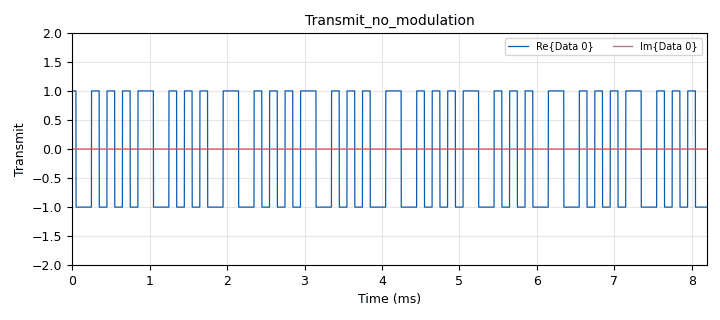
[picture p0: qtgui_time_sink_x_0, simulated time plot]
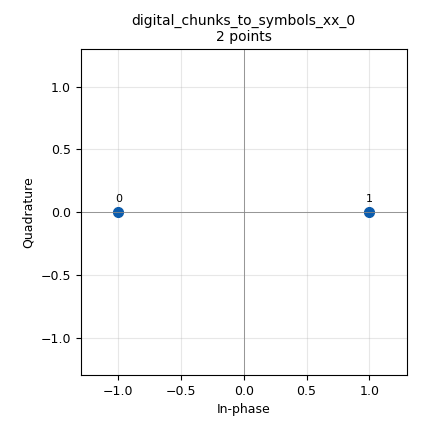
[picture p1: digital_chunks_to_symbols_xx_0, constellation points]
options:
  parameters:
    author: duong
    generate_options: qt_gui
    id: PSK
    output_language: python
    title: Not titled yet
  states: {}

blocks:
- name: cen_freq
  id: variable
  parameters:
    value: '915000000'
  states: {}
- name: rx_gain
  id: variable_qtgui_range
  parameters:
    label: rx_gain
    rangeType: int
    start: '0'
    step: '1'
    stop: '100'
    value: '64'
  states: {}
- name: samp_rate
  id: variable
  parameters:
    value: '1000000'
  states: {}
- name: sample_per_symbol
  id: variable
  parameters:
    value: '100'
  states: {}
- name: tx_attenuation
  id: variable_qtgui_range
  parameters:
    start: '0'
    step: '1'
    stop: '100'
    value: '10'
  states: {}
- name: blocks_repeat_0
  id: blocks_repeat
  parameters:
    interp: sample_per_symbol
    type: complex
  states: {}
- name: blocks_vector_source_x_0
  id: blocks_vector_source_x
  parameters:
    repeat: 'True'
    type: byte
    vector: (0,1,0,1,0,1,0,1,1,0,0,1,0,1,0,1,0,0,1,1,0)
  states: {}
- name: digital_chunks_to_symbols_xx_0
  id: digital_chunks_to_symbols_xx
  parameters:
    dimension: '1'
    in_type: byte
    out_type: complex
    symbol_table: (-1,1)
  states: {}
- name: iio_pluto_sink_0
  id: iio_pluto_sink
  parameters:
    attenuation1: tx_attenuation
    bandwidth: '20000000'
    buffer_size: '32768'
    cyclic: 'False'
    filter_source: '''Auto'''
    frequency: cen_freq
    samplerate: samp_rate
    type: fc32
    uri: usb:1.2.5
  states: {}
- name: iio_pluto_source_0
  id: iio_pluto_source
  parameters:
    bandwidth: '20000000'
    bbdc: 'True'
    buffer_size: '32768'
    filter_source: '''Auto'''
    frequency: cen_freq
    gain1: '''manual'''
    manual_gain1: rx_gain
    quadrature: 'True'
    rfdc: 'True'
    samplerate: samp_rate
    type: fc32
    uri: usb:1.3.5
  states: {}
- name: qtgui_const_sink_x_0
  id: qtgui_const_sink_x
  parameters:
    autoscale: 'True'
    grid: 'True'
    name: Constallation
    size: 1024*8
    type: complex
  states: {}
- name: qtgui_freq_sink_x_0
  id: qtgui_freq_sink_x
  parameters:
    autoscale: 'True'
    average: '0.05'
    bw: samp_rate
    fc: '0'
    fftsize: '1024'
    grid: 'True'
    name: IQ_Receive_Frequency
    type: complex
    ymax: '20'
  states: {}
- name: qtgui_time_sink_x_0
  id: qtgui_time_sink_x
  parameters:
    grid: 'True'
    name: Transmit_no_modulation
    size: 1024*8
    srate: samp_rate
    type: complex
    ylabel: Transmit
    ymax: '2'
    ymin: '-2'
  states: {}
- name: qtgui_time_sink_x_0_0
  id: qtgui_time_sink_x
  parameters:
    autoscale: 'True'
    name: IQ_Receive_time
    size: 1024*8
    srate: samp_rate
    type: complex
    ylabel: IQ_Receive_Time
    ymax: '2'
    ymin: '-2'
  states: {}

connections:
- [blocks_repeat_0, '0', iio_pluto_sink_0, '0']
- [blocks_repeat_0, '0', qtgui_time_sink_x_0, '0']
- [blocks_vector_source_x_0, '0', digital_chunks_to_symbols_xx_0, '0']
- [digital_chunks_to_symbols_xx_0, '0', blocks_repeat_0, '0']
- [iio_pluto_source_0, '0', qtgui_const_sink_x_0, '0']
- [iio_pluto_source_0, '0', qtgui_freq_sink_x_0, '0']
- [iio_pluto_source_0, '0', qtgui_time_sink_x_0_0, '0']

metadata:
  file_format: 1
  grc_version: 3.10.9.2
